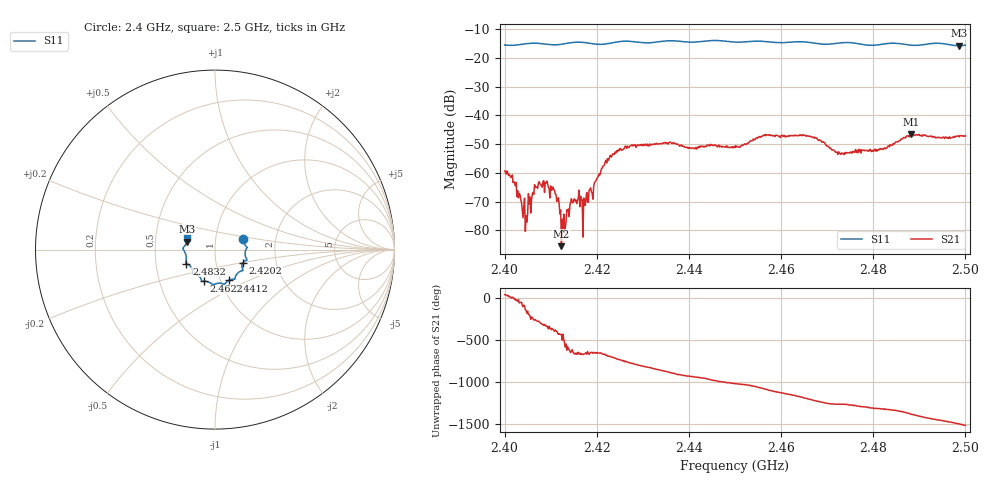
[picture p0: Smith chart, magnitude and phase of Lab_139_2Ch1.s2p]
# Hz S RI R 50
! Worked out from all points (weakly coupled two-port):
!   601 points, 2.4 GHz to 2.5 GHz, reference 50 ohm
!   highest |S21| = -46.51 dB at 2.4882 GHz (marker M1); lowest = -85.5 dB at 2.4123 GHz (marker M2)
!   lowest |S11| = -15.8 dB at 2.4987 GHz (marker M3), VSWR 1.39, Z = 36.4 + j3.35 ohm
!   |S11| at or under -10 dB: start of sweep to end of sweep
!   S12 and S22 are empty: the file has one direction only
!   S11 on the Smith chart (normalised r, x): 2.4 GHz: 1.36, +0.17; 2.4202 GHz: 1.35, -0.20; 2.4412 GHz: 1.09, -0.39; 2.4622 GHz: 0.83, -0.30; 2.4832 GHz: 0.72, -0.12; 2.5 GHz: 0.73, +0.10
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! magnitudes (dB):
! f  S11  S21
! 2.4 GHz  -15.5  -59.3
! 2.402 GHz  -15.6  -63.1
! 2.4043 GHz  -15.2  -68.8
! 2.407 GHz  -14.9  -65.0
! 2.4088 GHz  -15.2  -63.3
! 2.4112 GHz  -15.5  -67.7
! 2.4123 GHz  -15.3  -85.5
! 2.4128 GHz  -15.1  -74.3
! 2.4167 GHz  -14.6  -69.5
! 2.4202 GHz  -15.3  -61.6
! 2.4247 GHz  -14.4  -52.1
! 2.4333 GHz  -14.4  -50.0
! 2.4412 GHz  -14.5  -51.7
! 2.45 GHz  -14.5  -51.2
! 2.4622 GHz  -14.5  -47.0
! 2.4667 GHz  -14.7  -47.5
! 2.4732 GHz  -14.8  -53.1
! 2.4832 GHz  -15.0  -50.7
! 2.4833 GHz  -15.0  -50.6
! 2.4882 GHz  -15.6  -46.5
! 2.4987 GHz  -15.8  -47.5
! 2.5 GHz  -15.6  -47.2
